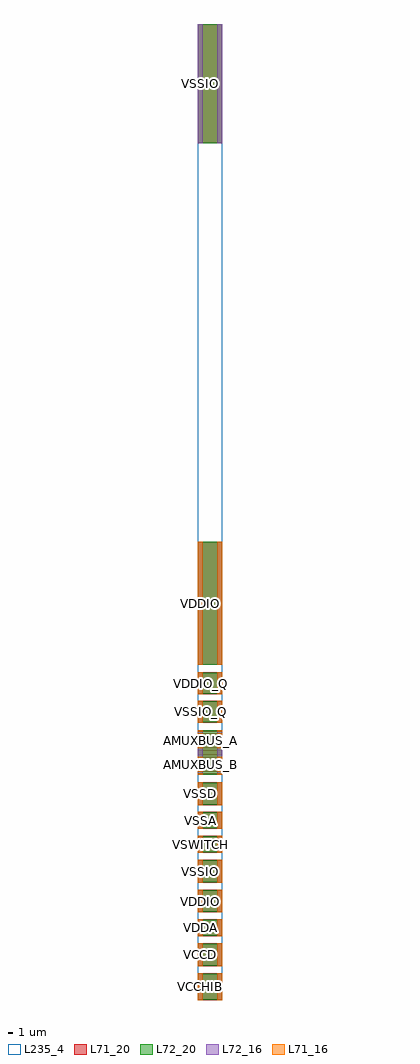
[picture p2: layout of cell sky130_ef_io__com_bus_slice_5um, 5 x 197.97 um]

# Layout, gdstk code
import gdstk
lib = gdstk.Library(unit=1e-6, precision=1e-09)
def R(c, l, rs):  # rectangles x0, y0, x1, y1
    for r in rs: c.add(gdstk.rectangle(r[:2], r[2:], *l))
L71_16 = (71, 16)
L71_20 = (71, 20)
L72_16 = (72, 16)
L72_20 = (72, 20)
L235_4 = (235, 4)

sky130_ef_io__com_bus_sl = lib.new_cell('sky130_ef_io__com_bus_slice_5um')
R(sky130_ef_io__com_bus_sl, L71_16, [(0,0,1,5.45), (4,0,5,5.45), (0,6.85,1,11.5), (4,6.85,5,11.5), (0,12.9,1,16.35), (4,12.9,5,16.35), (0,17.75,1,22.4), (4,17.75,5,22.4), (0,23.8,1,28.45), (4,23.8,5,28.45), (0,29.85,1,33.3), (4,29.85,5,33.3), (0,34.7,1,38.15), (4,34.7,5,38.15), (0,39.55,1,44.2), (4,39.55,5,44.2), (0,45.7,1,46.03), (4,45.7,5,46.03), (0,46.33,1,49.31), (4,46.33,5,49.31), (0,51.09,1,54.07), (4,51.09,5,54.07), (0,54.37,1,54.7), (4,54.37,5,54.7), (0,56.2,1,60.65), (4,56.2,5,60.65), (0,62.05,1,66.5), (4,62.05,5,66.5), (0,68,1,92.965), (4,68,5,92.965)])
R(sky130_ef_io__com_bus_sl, L71_20, [(0,0,5,5.45), (0,6.85,5,11.5), (0,12.9,5,16.35), (0,17.75,5,22.4), (0,23.8,5,28.45), (0,29.85,5,33.3), (0,34.7,5,38.15), (0,39.55,5,44.2), (0,45.7,5,46.03), (0,46.33,5,49.31), (0,49.61,5,50.79), (0,51.09,5,54.07), (0,54.37,5,54.7), (0,56.2,5,60.65), (0,62.05,5,66.5), (0,68,5,92.965), (0,173.75,5,197.965)])
R(sky130_ef_io__com_bus_sl, L72_16, [(0,0.1,1,5.35), (4,0.1,5,5.35), (0,6.95,1,11.4), (4,6.95,5,11.4), (0,13,1,16.25), (4,13,5,16.25), (0,17.85,1,22.3), (4,17.85,5,22.3), (0,23.9,1,28.35), (4,23.9,5,28.35), (0,29.95,1,33.2), (4,29.95,5,33.2), (0,34.8,1,38.05), (4,34.8,5,38.05), (0,39.65,1,44.1), (4,39.65,5,44.1), (0,45.7,1,54.7), (4,45.7,5,54.7), (0,56.3,1,60.55), (4,56.3,5,60.55), (0,62.15,1,66.4), (4,62.15,5,66.4), (0,68,1,92.95), (4,68,5,92.95), (0,173.75,1,197.965), (4,173.75,5,197.965)])
R(sky130_ef_io__com_bus_sl, L72_20, [(0,0.1,5,5.35), (0,6.95,5,11.4), (0,13,5,16.25), (0,17.85,5,22.3), (0,23.9,5,28.35), (0,29.95,5,33.2), (0,34.8,5,38.05), (0,39.65,5,44.1), (0,45.7,5,54.7), (0,56.3,5,60.55), (0,62.15,5,66.4), (0,68,5,92.95), (0,173.75,5,197.965)])
R(sky130_ef_io__com_bus_sl, L235_4, [(0,0,5,197.965)])
sky130_ef_io__com_bus_sl.add(gdstk.Label('AMUXBUS_A', (0.5,52.58), layer=71, texttype=16))
sky130_ef_io__com_bus_sl.add(gdstk.Label('AMUXBUS_A', (4.5,52.58), layer=71, texttype=16))
sky130_ef_io__com_bus_sl.add(gdstk.Label('AMUXBUS_B', (0.5,47.82), layer=71, texttype=16))
sky130_ef_io__com_bus_sl.add(gdstk.Label('AMUXBUS_B', (4.5,47.82), layer=71, texttype=16))
sky130_ef_io__com_bus_sl.add(gdstk.Label('VSSA', (0.5,50.2), layer=72, texttype=16))
sky130_ef_io__com_bus_sl.add(gdstk.Label('VSSA', (0.5,54.535), layer=71, texttype=16))
sky130_ef_io__com_bus_sl.add(gdstk.Label('VSSA', (0.5,45.865), layer=71, texttype=16))
sky130_ef_io__com_bus_sl.add(gdstk.Label('VSSA', (0.5,36.425), layer=72, texttype=16))
sky130_ef_io__com_bus_sl.add(gdstk.Label('VSSA', (0.5,36.425), layer=71, texttype=16))
sky130_ef_io__com_bus_sl.add(gdstk.Label('VSSA', (4.5,50.2), layer=72, texttype=16))
sky130_ef_io__com_bus_sl.add(gdstk.Label('VSSA', (4.5,54.535), layer=71, texttype=16))
sky130_ef_io__com_bus_sl.add(gdstk.Label('VSSA', (4.5,45.865), layer=71, texttype=16))
sky130_ef_io__com_bus_sl.add(gdstk.Label('VSSA', (4.5,36.425), layer=72, texttype=16))
sky130_ef_io__com_bus_sl.add(gdstk.Label('VSSA', (4.5,36.425), layer=71, texttype=16))
sky130_ef_io__com_bus_sl.add(gdstk.Label('VDDA', (0.5,14.625), layer=72, texttype=16))
sky130_ef_io__com_bus_sl.add(gdstk.Label('VDDA', (0.5,14.625), layer=71, texttype=16))
sky130_ef_io__com_bus_sl.add(gdstk.Label('VDDA', (4.5,14.625), layer=72, texttype=16))
sky130_ef_io__com_bus_sl.add(gdstk.Label('VDDA', (4.5,14.625), layer=71, texttype=16))
sky130_ef_io__com_bus_sl.add(gdstk.Label('VSWITCH', (0.5,31.575), layer=72, texttype=16))
sky130_ef_io__com_bus_sl.add(gdstk.Label('VSWITCH', (0.5,31.575), layer=71, texttype=16))
sky130_ef_io__com_bus_sl.add(gdstk.Label('VSWITCH', (4.5,31.575), layer=72, texttype=16))
sky130_ef_io__com_bus_sl.add(gdstk.Label('VSWITCH', (4.5,31.575), layer=71, texttype=16))
sky130_ef_io__com_bus_sl.add(gdstk.Label('VDDIO_Q', (0.5,64.275), layer=72, texttype=16))
sky130_ef_io__com_bus_sl.add(gdstk.Label('VDDIO_Q', (0.5,64.275), layer=71, texttype=16))
sky130_ef_io__com_bus_sl.add(gdstk.Label('VDDIO_Q', (4.5,64.275), layer=72, texttype=16))
sky130_ef_io__com_bus_sl.add(gdstk.Label('VDDIO_Q', (4.5,64.275), layer=71, texttype=16))
sky130_ef_io__com_bus_sl.add(gdstk.Label('VCCHIB', (0.5,2.725), layer=72, texttype=16))
sky130_ef_io__com_bus_sl.add(gdstk.Label('VCCHIB', (0.5,2.725), layer=71, texttype=16))
sky130_ef_io__com_bus_sl.add(gdstk.Label('VCCHIB', (4.5,2.725), layer=72, texttype=16))
sky130_ef_io__com_bus_sl.add(gdstk.Label('VCCHIB', (4.5,2.725), layer=71, texttype=16))
sky130_ef_io__com_bus_sl.add(gdstk.Label('VDDIO', (0.5,80.475), layer=72, texttype=16))
sky130_ef_io__com_bus_sl.add(gdstk.Label('VDDIO', (0.5,80.482), layer=71, texttype=16))
sky130_ef_io__com_bus_sl.add(gdstk.Label('VDDIO', (0.5,20.075), layer=72, texttype=16))
sky130_ef_io__com_bus_sl.add(gdstk.Label('VDDIO', (0.5,20.075), layer=71, texttype=16))
sky130_ef_io__com_bus_sl.add(gdstk.Label('VDDIO', (4.5,80.475), layer=72, texttype=16))
sky130_ef_io__com_bus_sl.add(gdstk.Label('VDDIO', (4.5,80.482), layer=71, texttype=16))
sky130_ef_io__com_bus_sl.add(gdstk.Label('VDDIO', (4.5,20.075), layer=72, texttype=16))
sky130_ef_io__com_bus_sl.add(gdstk.Label('VDDIO', (4.5,20.075), layer=71, texttype=16))
sky130_ef_io__com_bus_sl.add(gdstk.Label('VCCD', (0.5,9.175), layer=72, texttype=16))
sky130_ef_io__com_bus_sl.add(gdstk.Label('VCCD', (0.5,9.175), layer=71, texttype=16))
sky130_ef_io__com_bus_sl.add(gdstk.Label('VCCD', (4.5,9.175), layer=72, texttype=16))
sky130_ef_io__com_bus_sl.add(gdstk.Label('VCCD', (4.5,9.175), layer=71, texttype=16))
sky130_ef_io__com_bus_sl.add(gdstk.Label('VSSIO', (0.5,26.125), layer=72, texttype=16))
sky130_ef_io__com_bus_sl.add(gdstk.Label('VSSIO', (0.5,26.125), layer=71, texttype=16))
sky130_ef_io__com_bus_sl.add(gdstk.Label('VSSIO', (0.5,185.857), layer=72, texttype=16))
sky130_ef_io__com_bus_sl.add(gdstk.Label('VSSIO', (4.5,26.125), layer=72, texttype=16))
sky130_ef_io__com_bus_sl.add(gdstk.Label('VSSIO', (4.5,26.125), layer=71, texttype=16))
sky130_ef_io__com_bus_sl.add(gdstk.Label('VSSIO', (4.5,185.857), layer=72, texttype=16))
sky130_ef_io__com_bus_sl.add(gdstk.Label('VSSD', (0.5,41.875), layer=72, texttype=16))
sky130_ef_io__com_bus_sl.add(gdstk.Label('VSSD', (0.5,41.875), layer=71, texttype=16))
sky130_ef_io__com_bus_sl.add(gdstk.Label('VSSD', (4.5,41.875), layer=72, texttype=16))
sky130_ef_io__com_bus_sl.add(gdstk.Label('VSSD', (4.5,41.875), layer=71, texttype=16))
sky130_ef_io__com_bus_sl.add(gdstk.Label('VSSIO_Q', (0.5,58.425), layer=72, texttype=16))
sky130_ef_io__com_bus_sl.add(gdstk.Label('VSSIO_Q', (0.5,58.425), layer=71, texttype=16))
sky130_ef_io__com_bus_sl.add(gdstk.Label('VSSIO_Q', (4.5,58.425), layer=72, texttype=16))
sky130_ef_io__com_bus_sl.add(gdstk.Label('VSSIO_Q', (4.5,58.425), layer=71, texttype=16))

lib.write_gds('sky130_ef_io__com_bus_slice_5um.gds')
